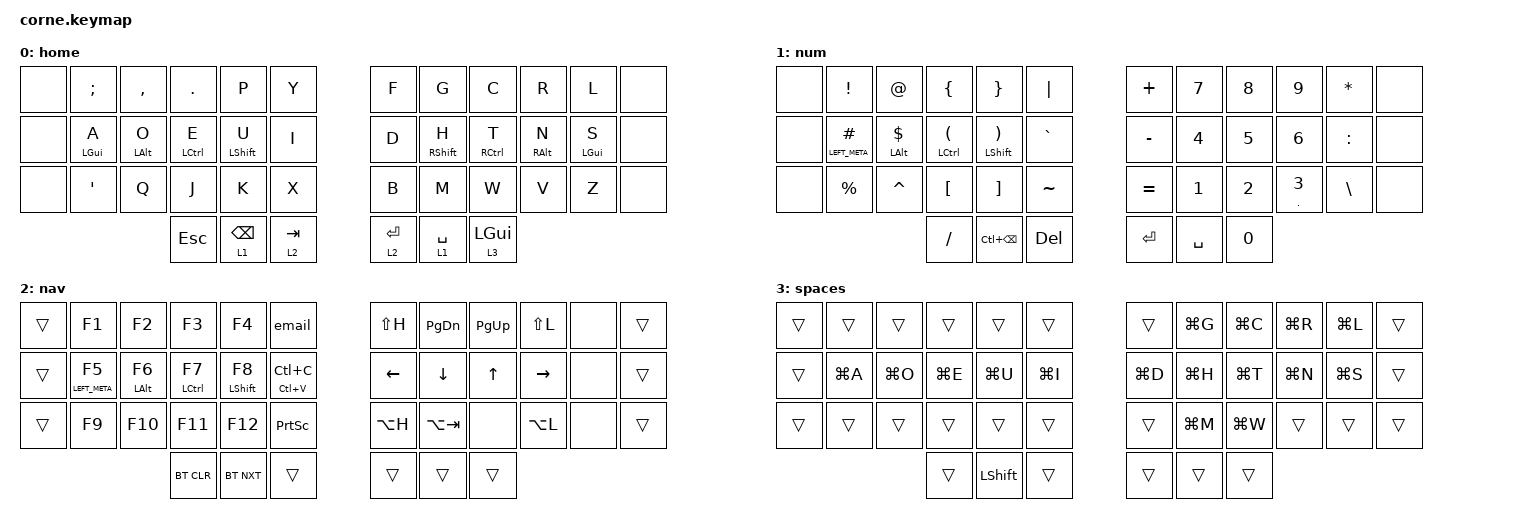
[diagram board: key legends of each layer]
/*
 * Copyright (c) 2020 The ZMK Contributors
 *
 * SPDX-License-Identifier: MIT
 */

#include <behaviors.dtsi>
#include <dt-bindings/zmk/bt.h>
#include <dt-bindings/zmk/keys.h>

/ {
    behaviors {
        hm: homerow_mods {
            compatible = "zmk,behavior-hold-tap";
            label = "HOMEROW_MODS";
            bindings = <&kp>, <&kp>;

            #binding-cells = <2>;
            tapping-term-ms = <200>;
            flavor = "tap-preferred";
            require-prior-idle-ms = <125>;
            quick-tap-ms = <200>;
        };

        shifthr: shifthr {
            compatible = "zmk,behavior-hold-tap";
            label = "SHIFTHR";
            bindings = <&kp>, <&kp>;

            #binding-cells = <2>;
            tapping-term-ms = <185>;
            flavor = "tap-preferred";
            quick-tap-ms = <185>;
        };

        weak: weak {
            compatible = "zmk,behavior-hold-tap";
            label = "WEAK";
            bindings = <&kp>, <&kp>;

            #binding-cells = <2>;
            tapping-term-ms = <230>;
            flavor = "tap-preferred";
            require-prior-idle-ms = <125>;
            quick-tap-ms = <230>;
        };

        backspace: backspace {
            compatible = "zmk,behavior-tap-dance";
            label = "BACKSPACE";
            #binding-cells = <0>;
            bindings = <&kp BACKSPACE>, <&kp LC(BACKSPACE)>;
        };
    };

    combos {
        compatible = "zmk,combos";

        caps {
            bindings = <&kp CAPS>;
            key-positions = <16 19>;
        };

        jk_fix {
            bindings = <&kp ESCAPE>;
            key-positions = <31 32>;
        };

        under {
            bindings = <&kp UNDER>;
            key-positions = <28 31>;
        };

        dash {
            bindings = <&kp MINUS>;
            key-positions = <4 7>;
        };
    };

    macros {
        save: save {
            compatible = "zmk,behavior-macro";
            #binding-cells = <0>;
            bindings = <&macro_tap>, <&kp ESCAPE &kp COLON &kp W &kp ENTER>;

            label = "SAVE";
        };

        email: email {
            compatible = "zmk,behavior-macro";
            #binding-cells = <0>;
            bindings = <&none &kp J &kp O &kp S &kp H &kp AT &kp J &kp O &kp S &kp H &kp B &kp L &kp A &kp I &kp S &kp DOT &kp C &kp O &kp M>;
            label = "EMAIL";
        };
    };

    keymap {
        compatible = "zmk,keymap";

        home {
            // -----------------------------------------------------------------------------------------
            // |  TAB |  Q  |  W  |  E  |  R  |  T  |   |  Y  |  U   |  I  |  O  |  P  | BKSP |
            // | CTRL |  A  |  S  |  D  |  F  |  G  |   |  H  |  J   |  K  |  L  |  ;  |  '   |
            // | SHFT |  Z  |  X  |  C  |  V  |  B  |   |  N  |  M   |  ,  |  .  |  /  | ESC  |
            //                    | GUI | LWR | SPC |   | ENT | RSE  | ALT |

            bindings = <
&none  &kp SEMICOLON    &kp COMMA            &kp PERIOD               &kp P                  &kp Y        &kp F        &kp G              &kp C             &kp R                 &kp L            &none
&none  &shifthr LGUI A  &shifthr LEFT_ALT O  &shifthr LEFT_CONTROL E  &shifthr LEFT_SHIFT U  &kp I        &kp D        &shifthr RSHIFT H  &shifthr RCTRL T  &shifthr RIGHT_ALT N  &shifthr LGUI S  &none
&none  &kp SQT          &kp Q                &kp J                    &kp K                  &kp X        &kp B        &kp M              &kp W             &kp V                 &kp Z            &none
                                             &kp ESCAPE               &lt 1 BACKSPACE        &lt 2 TAB    &lt 2 ENTER  &lt 1 SPACE        &lt 3 LGUI
            >;

            label = "home";
        };

        num {
            // -----------------------------------------------------------------------------------------
            // |  TAB |  !  |  @  |  #  |  $  |  %  |   |  ^  |  &  |  *  |  (  |  )  | BKSP |
            // | CTRL |     |     |     |     |     |   |  -  |  =  |  [  |  ]  |  \  |  `   |
            // | SHFT |     |     |     |     |     |   |  _  |  +  |  {  |  }  | "|" |  ~   |
            //                    | GUI |     | SPC |   | ENT |     | ALT |

            bindings = <
&none  &kp EXCL            &kp AT               &kp LEFT_BRACE              &kp RIGHT_BRACE                   &kp PIPE     &kp PLUS   &kp NUMBER_7  &kp N8        &kp N9                    &kp ASTERISK   &none
&none  &hm LEFT_META HASH  &hm LEFT_ALT DOLLAR  &hm LCTRL LEFT_PARENTHESIS  &hm LEFT_SHIFT RIGHT_PARENTHESIS  &kp GRAVE    &kp MINUS  &kp NUMBER_4  &kp NUMBER_5  &kp NUMBER_6              &kp COLON      &none
&none  &kp PERCENT         &kp CARET            &kp LEFT_BRACKET            &kp RIGHT_BRACKET                 &kp TILDE    &kp EQUAL  &kp NUMBER_1  &kp NUMBER_2  &shifthr PERIOD NUMBER_3  &kp BACKSLASH  &none
                                                &kp SLASH                   &kp LC(BACKSPACE)                 &kp DEL      &kp RET    &kp SPACE     &kp N0
            >;

            label = "num";
        };

        nav {
            bindings = <
&trans  &kp F1            &kp F2           &kp F3        &kp F4             &email             &kp LS(H)       &kp PAGE_DOWN  &kp PG_UP     &kp LS(L)  &none  &trans
&trans  &hm LEFT_META F5  &hm LEFT_ALT F6  &hm LCTRL F7  &hm LEFT_SHIFT F8  &hm LC(V) LC(C)    &kp LEFT_ARROW  &kp DOWN       &kp UP_ARROW  &kp RIGHT  &none  &trans
&trans  &kp F9            &kp F10          &kp F11       &kp F12            &kp PSCRN          &kp LA(H)       &kp LA(TAB)    &none         &kp LA(L)  &none  &trans
                                           &bt BT_CLR    &bt BT_NXT         &trans             &trans          &trans         &trans
            >;

            label = "nav";
        };

        spaces {
            bindings = <
&trans  &trans     &trans     &trans     &trans          &trans       &trans     &kp LG(G)  &kp LG(C)  &kp LG(R)  &kp LG(L)  &trans
&trans  &kp LG(A)  &kp LG(O)  &kp LG(E)  &kp LG(U)       &kp LG(I)    &kp LG(D)  &kp LG(H)  &kp LG(T)  &kp LG(N)  &kp LG(S)  &trans
&trans  &trans     &trans     &trans     &trans          &trans       &trans     &kp LG(M)  &kp LG(W)  &trans     &trans     &trans
                              &trans     &kp LEFT_SHIFT  &trans       &trans     &trans     &trans
            >;
        };
    };
};
